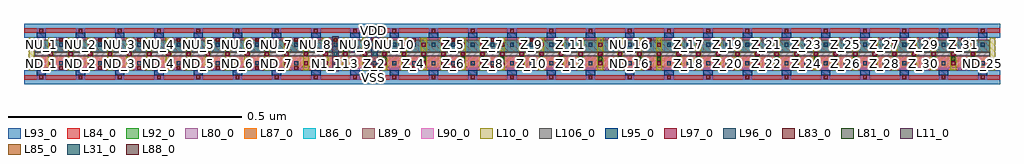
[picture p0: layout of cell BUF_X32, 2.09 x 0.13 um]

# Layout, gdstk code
import gdstk
lib = gdstk.Library(unit=1e-6, precision=1e-09)
def R(c, l, rs):  # rectangles x0, y0, x1, y1
    for r in rs: c.add(gdstk.rectangle(r[:2], r[2:], *l))
def A(c, l, x, y, w, h, nx, ny, dx, dy):  # array of equal rectangles
    R(c, l, [(x+i*dx, y+j*dy, x+i*dx+w, y+j*dy+h) for i in range(nx) for j in range(ny)])
L10_0 = (10, 0)
L11_0 = (11, 0)
L31_0 = (31, 0)
L80_0 = (80, 0)
L81_0 = (81, 0)
L83_0 = (83, 0)
L84_0 = (84, 0)
L85_0 = (85, 0)
L86_0 = (86, 0)
L87_0 = (87, 0)
L88_0 = (88, 0)
L89_0 = (89, 0)
L90_0 = (90, 0)
L92_0 = (92, 0)
L93_0 = (93, 0)
L95_0 = (95, 0)
L96_0 = (96, 0)
L97_0 = (97, 0)
L106_0 = (106, 0)

buf_x32 = lib.new_cell('BUF_X32')
A(buf_x32, L10_0, 0.077, 0.074, 0.012, 0.07, 50, 1, 0.042, 0)
R(buf_x32, L11_0, [(0.727,0.072,0.741,0.147), (0.811,0.072,0.825,0.146), (0.769,0.112,0.783,0.126)])
R(buf_x32, L31_0, [(0.73,0.105,0.738,0.113), (0.814,0.105,0.822,0.113), (0.772,0.115,0.78,0.123)])
A(buf_x32, L80_0, 0.094, 0.054, 0.02, 0.05, 25, 2, 0.084, 0.06)
A(buf_x32, L80_0, 0.136, 0.074, 0.02, 0.03, 24, 2, 0.084, 0.04)
A(buf_x32, L81_0, 0.793, 0.095, 0.008, 0.008, 32, 1, 0.042, 0)
A(buf_x32, L81_0, 0.121, 0.115, 0.008, 0.008, 16, 1, 0.042, 0)
A(buf_x32, L83_0, 0.1, 0.055, 0.008, 0.008, 25, 2, 0.084, 0.1)
A(buf_x32, L83_0, 0.142, 0.075, 0.008, 0.008, 24, 2, 0.084, 0.06)
R(buf_x32, L84_0, [(0.067,0.054,2.157,0.064), (0.141,0.074,0.739,0.084), (0.813,0.074,2.083,0.084), (0.727,0.094,2.104,0.104), (0.12,0.114,0.781,0.124), (0.141,0.134,0.739,0.144), (0.813,0.134,2.083,0.144), (0.067,0.154,2.157,0.164)])
R(buf_x32, L85_0, [(0.73,0.075,0.738,0.083), (0.814,0.075,0.822,0.083), (0.73,0.095,0.738,0.103), (0.772,0.115,0.78,0.123), (0.73,0.135,0.738,0.143), (0.814,0.135,0.822,0.143)])
R(buf_x32, L86_0, [(0.089,0.112,2.135,0.139)])
R(buf_x32, L87_0, [(0.089,0.079,2.135,0.106)])
R(buf_x32, L88_0, [(0.812,0.055,0.82,0.063), (0.812,0.155,0.82,0.163)])
R(buf_x32, L89_0, [(0.089,0.112,2.135,0.139)])
R(buf_x32, L90_0, [(0.089,0.079,2.135,0.106)])
R(buf_x32, L92_0, [(0.09,0.081,2.134,0.104), (0.09,0.114,2.134,0.137)])
R(buf_x32, L93_0, [(0.067,0.044,2.157,0.074), (0.067,0.144,2.157,0.174)])
A(buf_x32, L95_0, 0.094, 0.064, 0.02, 0.01, 25, 2, 0.084, 0.08)
A(buf_x32, L96_0, 0.1, 0.085, 0.008, 0.008, 49, 2, 0.042, 0.04)
A(buf_x32, L97_0, 0.121, 0.085, 0.008, 0.008, 48, 3, 0.042, 0.02)
R(buf_x32, L106_0, [(0.09,0.104,2.135,0.114)])
buf_x32.add(gdstk.Label('ND_16', (1.364,0.089), layer=96, texttype=0))
buf_x32.add(gdstk.Label('NU_16', (1.364,0.129), layer=96, texttype=0))
buf_x32.add(gdstk.Label('Z_16', (1.406,0.089), layer=96, texttype=0))
buf_x32.add(gdstk.Label('Z_13', (1.322,0.129), layer=96, texttype=0))
buf_x32.add(gdstk.Label('Z_14', (1.322,0.089), layer=96, texttype=0))
buf_x32.add(gdstk.Label('ND_15', (1.28,0.089), layer=96, texttype=0))
buf_x32.add(gdstk.Label('NU_15', (1.28,0.129), layer=96, texttype=0))
buf_x32.add(gdstk.Label('Z_12', (1.238,0.089), layer=96, texttype=0))
buf_x32.add(gdstk.Label('ND_14', (1.196,0.089), layer=96, texttype=0))
buf_x32.add(gdstk.Label('Z_15', (1.406,0.129), layer=96, texttype=0))
buf_x32.add(gdstk.Label('NU_17', (1.448,0.129), layer=96, texttype=0))
buf_x32.add(gdstk.Label('Z_17', (1.49,0.129), layer=96, texttype=0))
buf_x32.add(gdstk.Label('NU_18', (1.532,0.129), layer=96, texttype=0))
buf_x32.add(gdstk.Label('Z_19', (1.574,0.129), layer=96, texttype=0))
buf_x32.add(gdstk.Label('NU_19', (1.616,0.129), layer=96, texttype=0))
buf_x32.add(gdstk.Label('Z_21', (1.658,0.129), layer=96, texttype=0))
buf_x32.add(gdstk.Label('NU_20', (1.7,0.129), layer=96, texttype=0))
buf_x32.add(gdstk.Label('Z_23', (1.742,0.129), layer=96, texttype=0))
buf_x32.add(gdstk.Label('NU_21', (1.784,0.129), layer=96, texttype=0))
buf_x32.add(gdstk.Label('Z_25', (1.826,0.129), layer=96, texttype=0))
buf_x32.add(gdstk.Label('NU_22', (1.868,0.129), layer=96, texttype=0))
buf_x32.add(gdstk.Label('Z_27', (1.91,0.129), layer=96, texttype=0))
buf_x32.add(gdstk.Label('NU_23', (1.952,0.129), layer=96, texttype=0))
buf_x32.add(gdstk.Label('Z_29', (1.994,0.129), layer=96, texttype=0))
buf_x32.add(gdstk.Label('NU_24', (2.036,0.129), layer=96, texttype=0))
buf_x32.add(gdstk.Label('Z_31', (2.078,0.129), layer=96, texttype=0))
buf_x32.add(gdstk.Label('NU_25', (2.12,0.129), layer=96, texttype=0))
buf_x32.add(gdstk.Label('Z_10', (1.154,0.089), layer=96, texttype=0))
buf_x32.add(gdstk.Label('Z_9', (1.154,0.129), layer=96, texttype=0))
buf_x32.add(gdstk.Label('ND_25', (2.12,0.089), layer=96, texttype=0))
buf_x32.add(gdstk.Label('Z_32', (2.078,0.089), layer=96, texttype=0))
buf_x32.add(gdstk.Label('ND_24', (2.036,0.089), layer=96, texttype=0))
buf_x32.add(gdstk.Label('Z_30', (1.994,0.089), layer=96, texttype=0))
buf_x32.add(gdstk.Label('ND_23', (1.952,0.089), layer=96, texttype=0))
buf_x32.add(gdstk.Label('Z_28', (1.91,0.089), layer=96, texttype=0))
buf_x32.add(gdstk.Label('ND_22', (1.868,0.089), layer=96, texttype=0))
buf_x32.add(gdstk.Label('Z_26', (1.826,0.089), layer=96, texttype=0))
buf_x32.add(gdstk.Label('ND_21', (1.784,0.089), layer=96, texttype=0))
buf_x32.add(gdstk.Label('Z_24', (1.742,0.089), layer=96, texttype=0))
buf_x32.add(gdstk.Label('ND_20', (1.7,0.089), layer=96, texttype=0))
buf_x32.add(gdstk.Label('Z_22', (1.658,0.089), layer=96, texttype=0))
buf_x32.add(gdstk.Label('ND_19', (1.616,0.089), layer=96, texttype=0))
buf_x32.add(gdstk.Label('Z_20', (1.574,0.089), layer=96, texttype=0))
buf_x32.add(gdstk.Label('ND_18', (1.532,0.089), layer=96, texttype=0))
buf_x32.add(gdstk.Label('Z_18', (1.49,0.089), layer=96, texttype=0))
buf_x32.add(gdstk.Label('ND_17', (1.448,0.089), layer=96, texttype=0))
buf_x32.add(gdstk.Label('NU_14', (1.196,0.129), layer=96, texttype=0))
buf_x32.add(gdstk.Label('Z_11', (1.238,0.129), layer=96, texttype=0))
buf_x32.add(gdstk.Label('ND_3', (0.272,0.089), layer=96, texttype=0))
buf_x32.add(gdstk.Label('NU_3', (0.272,0.129), layer=96, texttype=0))
buf_x32.add(gdstk.Label('N1_102', (0.314,0.089), layer=96, texttype=0))
buf_x32.add(gdstk.Label('N1_99', (0.23,0.129), layer=96, texttype=0))
buf_x32.add(gdstk.Label('N1_100', (0.23,0.089), layer=96, texttype=0))
buf_x32.add(gdstk.Label('ND_2', (0.188,0.089), layer=96, texttype=0))
buf_x32.add(gdstk.Label('NU_2', (0.188,0.129), layer=96, texttype=0))
buf_x32.add(gdstk.Label('N1_98', (0.146,0.089), layer=96, texttype=0))
buf_x32.add(gdstk.Label('ND_1', (0.104,0.089), layer=96, texttype=0))
buf_x32.add(gdstk.Label('N1_101', (0.314,0.129), layer=96, texttype=0))
buf_x32.add(gdstk.Label('NU_4', (0.356,0.129), layer=96, texttype=0))
buf_x32.add(gdstk.Label('N1_103', (0.398,0.129), layer=96, texttype=0))
buf_x32.add(gdstk.Label('NU_5', (0.44,0.129), layer=96, texttype=0))
buf_x32.add(gdstk.Label('N1_105', (0.482,0.129), layer=96, texttype=0))
buf_x32.add(gdstk.Label('NU_6', (0.524,0.129), layer=96, texttype=0))
buf_x32.add(gdstk.Label('N1_108', (0.566,0.129), layer=96, texttype=0))
buf_x32.add(gdstk.Label('NU_7', (0.608,0.129), layer=96, texttype=0))
buf_x32.add(gdstk.Label('N1_110', (0.65,0.129), layer=96, texttype=0))
buf_x32.add(gdstk.Label('NU_8', (0.692,0.129), layer=96, texttype=0))
buf_x32.add(gdstk.Label('N1_112', (0.734,0.129), layer=96, texttype=0))
buf_x32.add(gdstk.Label('NU_9', (0.776,0.129), layer=96, texttype=0))
buf_x32.add(gdstk.Label('Z_1', (0.818,0.129), layer=96, texttype=0))
buf_x32.add(gdstk.Label('NU_10', (0.86,0.129), layer=96, texttype=0))
buf_x32.add(gdstk.Label('Z_3', (0.902,0.129), layer=96, texttype=0))
buf_x32.add(gdstk.Label('NU_11', (0.944,0.129), layer=96, texttype=0))
buf_x32.add(gdstk.Label('Z_5', (0.986,0.129), layer=96, texttype=0))
buf_x32.add(gdstk.Label('NU_12', (1.028,0.129), layer=96, texttype=0))
buf_x32.add(gdstk.Label('Z_7', (1.07,0.129), layer=96, texttype=0))
buf_x32.add(gdstk.Label('NU_13', (1.112,0.129), layer=96, texttype=0))
buf_x32.add(gdstk.Label('ND_13', (1.112,0.089), layer=96, texttype=0))
buf_x32.add(gdstk.Label('Z_8', (1.07,0.089), layer=96, texttype=0))
buf_x32.add(gdstk.Label('ND_12', (1.028,0.089), layer=96, texttype=0))
buf_x32.add(gdstk.Label('Z_6', (0.986,0.089), layer=96, texttype=0))
buf_x32.add(gdstk.Label('ND_11', (0.944,0.089), layer=96, texttype=0))
buf_x32.add(gdstk.Label('Z_4', (0.902,0.089), layer=96, texttype=0))
buf_x32.add(gdstk.Label('ND_10', (0.86,0.089), layer=96, texttype=0))
buf_x32.add(gdstk.Label('Z_2', (0.818,0.089), layer=96, texttype=0))
buf_x32.add(gdstk.Label('ND_9', (0.776,0.089), layer=96, texttype=0))
buf_x32.add(gdstk.Label('N1_113', (0.734,0.089), layer=96, texttype=0))
buf_x32.add(gdstk.Label('ND_8', (0.692,0.089), layer=96, texttype=0))
buf_x32.add(gdstk.Label('N1_111', (0.65,0.089), layer=96, texttype=0))
buf_x32.add(gdstk.Label('ND_7', (0.608,0.089), layer=96, texttype=0))
buf_x32.add(gdstk.Label('N1_109', (0.566,0.089), layer=96, texttype=0))
buf_x32.add(gdstk.Label('ND_6', (0.524,0.089), layer=96, texttype=0))
buf_x32.add(gdstk.Label('N1_106', (0.482,0.089), layer=96, texttype=0))
buf_x32.add(gdstk.Label('ND_5', (0.44,0.089), layer=96, texttype=0))
buf_x32.add(gdstk.Label('N1_104', (0.398,0.089), layer=96, texttype=0))
buf_x32.add(gdstk.Label('ND_4', (0.356,0.089), layer=96, texttype=0))
buf_x32.add(gdstk.Label('NU_1', (0.104,0.129), layer=96, texttype=0))
buf_x32.add(gdstk.Label('N1_97', (0.146,0.129), layer=96, texttype=0))
buf_x32.add(gdstk.Label('VSS', (0.816,0.059), layer=88, texttype=0))
buf_x32.add(gdstk.Label('VDD', (0.816,0.159), layer=88, texttype=0))
buf_x32.add(gdstk.Label('N1', (0.734,0.109), layer=31, texttype=0))
buf_x32.add(gdstk.Label('Z', (0.818,0.109), layer=31, texttype=0))
buf_x32.add(gdstk.Label('A', (0.776,0.119), layer=31, texttype=0))
buf_x32.add(gdstk.Label('N1_94', (2.099,0.129), layer=97, texttype=0))
buf_x32.add(gdstk.Label('N1_95', (2.099,0.109), layer=97, texttype=0))
buf_x32.add(gdstk.Label('N1_96', (2.099,0.089), layer=97, texttype=0))
buf_x32.add(gdstk.Label('N1_91', (2.057,0.129), layer=97, texttype=0))
buf_x32.add(gdstk.Label('N1_92', (2.057,0.109), layer=97, texttype=0))
buf_x32.add(gdstk.Label('N1_93', (2.057,0.089), layer=97, texttype=0))
buf_x32.add(gdstk.Label('N1_90', (2.015,0.089), layer=97, texttype=0))
buf_x32.add(gdstk.Label('N1_89', (2.015,0.109), layer=97, texttype=0))
buf_x32.add(gdstk.Label('N1_88', (2.015,0.129), layer=97, texttype=0))
buf_x32.add(gdstk.Label('N1_85', (1.973,0.129), layer=97, texttype=0))
buf_x32.add(gdstk.Label('N1_86', (1.973,0.109), layer=97, texttype=0))
buf_x32.add(gdstk.Label('N1_87', (1.973,0.089), layer=97, texttype=0))
buf_x32.add(gdstk.Label('N1_82', (1.931,0.129), layer=97, texttype=0))
buf_x32.add(gdstk.Label('N1_83', (1.931,0.109), layer=97, texttype=0))
buf_x32.add(gdstk.Label('N1_84', (1.931,0.089), layer=97, texttype=0))
buf_x32.add(gdstk.Label('N1_79', (1.889,0.129), layer=97, texttype=0))
buf_x32.add(gdstk.Label('N1_80', (1.889,0.109), layer=97, texttype=0))
buf_x32.add(gdstk.Label('N1_81', (1.889,0.089), layer=97, texttype=0))
buf_x32.add(gdstk.Label('N1_78', (1.847,0.089), layer=97, texttype=0))
buf_x32.add(gdstk.Label('N1_77', (1.847,0.109), layer=97, texttype=0))
buf_x32.add(gdstk.Label('N1_76', (1.847,0.129), layer=97, texttype=0))
buf_x32.add(gdstk.Label('N1_73', (1.805,0.129), layer=97, texttype=0))
buf_x32.add(gdstk.Label('N1_74', (1.805,0.109), layer=97, texttype=0))
buf_x32.add(gdstk.Label('N1_75', (1.805,0.089), layer=97, texttype=0))
buf_x32.add(gdstk.Label('N1_70', (1.763,0.129), layer=97, texttype=0))
buf_x32.add(gdstk.Label('N1_71', (1.763,0.109), layer=97, texttype=0))
buf_x32.add(gdstk.Label('N1_72', (1.763,0.089), layer=97, texttype=0))
buf_x32.add(gdstk.Label('N1_69', (1.721,0.089), layer=97, texttype=0))
buf_x32.add(gdstk.Label('N1_68', (1.721,0.109), layer=97, texttype=0))
buf_x32.add(gdstk.Label('N1_67', (1.721,0.129), layer=97, texttype=0))
buf_x32.add(gdstk.Label('N1_66', (1.679,0.089), layer=97, texttype=0))
buf_x32.add(gdstk.Label('N1_65', (1.679,0.109), layer=97, texttype=0))
buf_x32.add(gdstk.Label('N1_64', (1.679,0.129), layer=97, texttype=0))
buf_x32.add(gdstk.Label('N1_61', (1.637,0.129), layer=97, texttype=0))
buf_x32.add(gdstk.Label('N1_62', (1.637,0.109), layer=97, texttype=0))
buf_x32.add(gdstk.Label('N1_63', (1.637,0.089), layer=97, texttype=0))
buf_x32.add(gdstk.Label('N1_58', (1.595,0.129), layer=97, texttype=0))
buf_x32.add(gdstk.Label('N1_59', (1.595,0.109), layer=97, texttype=0))
buf_x32.add(gdstk.Label('N1_60', (1.595,0.089), layer=97, texttype=0))
buf_x32.add(gdstk.Label('N1_55', (1.553,0.129), layer=97, texttype=0))
buf_x32.add(gdstk.Label('N1_56', (1.553,0.109), layer=97, texttype=0))
buf_x32.add(gdstk.Label('N1_57', (1.553,0.089), layer=97, texttype=0))
buf_x32.add(gdstk.Label('N1_54', (1.511,0.089), layer=97, texttype=0))
buf_x32.add(gdstk.Label('N1_53', (1.511,0.109), layer=97, texttype=0))
buf_x32.add(gdstk.Label('N1_52', (1.511,0.129), layer=97, texttype=0))
buf_x32.add(gdstk.Label('N1_49', (1.469,0.129), layer=97, texttype=0))
buf_x32.add(gdstk.Label('N1_50', (1.469,0.109), layer=97, texttype=0))
buf_x32.add(gdstk.Label('N1_51', (1.469,0.089), layer=97, texttype=0))
buf_x32.add(gdstk.Label('N1_46', (1.427,0.129), layer=97, texttype=0))
buf_x32.add(gdstk.Label('N1_47', (1.427,0.109), layer=97, texttype=0))
buf_x32.add(gdstk.Label('N1_44', (1.385,0.109), layer=97, texttype=0))
buf_x32.add(gdstk.Label('N1_45', (1.385,0.089), layer=97, texttype=0))
buf_x32.add(gdstk.Label('N1_48', (1.427,0.089), layer=97, texttype=0))
buf_x32.add(gdstk.Label('N1_43', (1.385,0.129), layer=97, texttype=0))
buf_x32.add(gdstk.Label('N1_40', (1.343,0.129), layer=97, texttype=0))
buf_x32.add(gdstk.Label('N1_16', (0.797,0.129), layer=97, texttype=0))
buf_x32.add(gdstk.Label('N1_24', (0.797,0.109), layer=97, texttype=0))
buf_x32.add(gdstk.Label('N1_23', (0.839,0.109), layer=97, texttype=0))
buf_x32.add(gdstk.Label('N1_15', (0.839,0.129), layer=97, texttype=0))
buf_x32.add(gdstk.Label('N1_14', (0.881,0.129), layer=97, texttype=0))
buf_x32.add(gdstk.Label('N1_22', (0.881,0.109), layer=97, texttype=0))
buf_x32.add(gdstk.Label('N1_13', (0.923,0.129), layer=97, texttype=0))
buf_x32.add(gdstk.Label('N1_21', (0.923,0.109), layer=97, texttype=0))
buf_x32.add(gdstk.Label('N1_12', (0.965,0.129), layer=97, texttype=0))
buf_x32.add(gdstk.Label('N1_20', (0.965,0.109), layer=97, texttype=0))
buf_x32.add(gdstk.Label('N1_11', (1.007,0.129), layer=97, texttype=0))
buf_x32.add(gdstk.Label('N1_19', (1.007,0.109), layer=97, texttype=0))
buf_x32.add(gdstk.Label('N1_10', (1.049,0.129), layer=97, texttype=0))
buf_x32.add(gdstk.Label('N1_18', (1.049,0.109), layer=97, texttype=0))
buf_x32.add(gdstk.Label('N1_9', (1.091,0.129), layer=97, texttype=0))
buf_x32.add(gdstk.Label('N1_17', (1.091,0.109), layer=97, texttype=0))
buf_x32.add(gdstk.Label('N1_8', (0.797,0.089), layer=97, texttype=0))
buf_x32.add(gdstk.Label('N1_7', (0.839,0.089), layer=97, texttype=0))
buf_x32.add(gdstk.Label('N1_6', (0.881,0.089), layer=97, texttype=0))
buf_x32.add(gdstk.Label('N1_5', (0.923,0.089), layer=97, texttype=0))
buf_x32.add(gdstk.Label('N1_4', (0.965,0.089), layer=97, texttype=0))
buf_x32.add(gdstk.Label('N1_3', (1.007,0.089), layer=97, texttype=0))
buf_x32.add(gdstk.Label('N1_2', (1.049,0.089), layer=97, texttype=0))
buf_x32.add(gdstk.Label('N1_1', (1.091,0.089), layer=97, texttype=0))
buf_x32.add(gdstk.Label('N1_25', (1.133,0.129), layer=97, texttype=0))
buf_x32.add(gdstk.Label('N1_26', (1.133,0.109), layer=97, texttype=0))
buf_x32.add(gdstk.Label('N1_27', (1.133,0.089), layer=97, texttype=0))
buf_x32.add(gdstk.Label('N1_28', (1.175,0.129), layer=97, texttype=0))
buf_x32.add(gdstk.Label('N1_29', (1.175,0.109), layer=97, texttype=0))
buf_x32.add(gdstk.Label('N1_30', (1.175,0.089), layer=97, texttype=0))
buf_x32.add(gdstk.Label('N1_31', (1.217,0.129), layer=97, texttype=0))
buf_x32.add(gdstk.Label('N1_32', (1.217,0.109), layer=97, texttype=0))
buf_x32.add(gdstk.Label('N1_33', (1.217,0.089), layer=97, texttype=0))
buf_x32.add(gdstk.Label('N1_34', (1.259,0.129), layer=97, texttype=0))
buf_x32.add(gdstk.Label('N1_35', (1.259,0.109), layer=97, texttype=0))
buf_x32.add(gdstk.Label('N1_36', (1.259,0.089), layer=97, texttype=0))
buf_x32.add(gdstk.Label('N1_37', (1.301,0.129), layer=97, texttype=0))
buf_x32.add(gdstk.Label('N1_38', (1.301,0.109), layer=97, texttype=0))
buf_x32.add(gdstk.Label('N1_39', (1.301,0.089), layer=97, texttype=0))
buf_x32.add(gdstk.Label('N1_42', (1.343,0.089), layer=97, texttype=0))
buf_x32.add(gdstk.Label('N1_41', (1.343,0.109), layer=97, texttype=0))
buf_x32.add(gdstk.Label('A_46', (0.755,0.129), layer=97, texttype=0))
buf_x32.add(gdstk.Label('A_47', (0.755,0.109), layer=97, texttype=0))
buf_x32.add(gdstk.Label('A_48', (0.755,0.089), layer=97, texttype=0))
buf_x32.add(gdstk.Label('A_45', (0.713,0.089), layer=97, texttype=0))
buf_x32.add(gdstk.Label('A_44', (0.713,0.109), layer=97, texttype=0))
buf_x32.add(gdstk.Label('A_43', (0.713,0.129), layer=97, texttype=0))
buf_x32.add(gdstk.Label('A_40', (0.671,0.129), layer=97, texttype=0))
buf_x32.add(gdstk.Label('A_41', (0.671,0.109), layer=97, texttype=0))
buf_x32.add(gdstk.Label('A_42', (0.671,0.089), layer=97, texttype=0))
buf_x32.add(gdstk.Label('A_37', (0.629,0.129), layer=97, texttype=0))
buf_x32.add(gdstk.Label('A_38', (0.629,0.109), layer=97, texttype=0))
buf_x32.add(gdstk.Label('A_39', (0.629,0.089), layer=97, texttype=0))
buf_x32.add(gdstk.Label('A_36', (0.587,0.089), layer=97, texttype=0))
buf_x32.add(gdstk.Label('A_35', (0.587,0.109), layer=97, texttype=0))
buf_x32.add(gdstk.Label('A_34', (0.587,0.129), layer=97, texttype=0))
buf_x32.add(gdstk.Label('A_33', (0.545,0.089), layer=97, texttype=0))
buf_x32.add(gdstk.Label('A_32', (0.545,0.109), layer=97, texttype=0))
buf_x32.add(gdstk.Label('A_31', (0.545,0.129), layer=97, texttype=0))
buf_x32.add(gdstk.Label('A_28', (0.503,0.129), layer=97, texttype=0))
buf_x32.add(gdstk.Label('A_29', (0.503,0.109), layer=97, texttype=0))
buf_x32.add(gdstk.Label('A_30', (0.503,0.089), layer=97, texttype=0))
buf_x32.add(gdstk.Label('A_25', (0.461,0.129), layer=97, texttype=0))
buf_x32.add(gdstk.Label('A_26', (0.461,0.109), layer=97, texttype=0))
buf_x32.add(gdstk.Label('A_27', (0.461,0.089), layer=97, texttype=0))
buf_x32.add(gdstk.Label('A_16', (0.125,0.129), layer=97, texttype=0))
buf_x32.add(gdstk.Label('A_24', (0.125,0.109), layer=97, texttype=0))
buf_x32.add(gdstk.Label('A_23', (0.167,0.109), layer=97, texttype=0))
buf_x32.add(gdstk.Label('A_15', (0.167,0.129), layer=97, texttype=0))
buf_x32.add(gdstk.Label('A_14', (0.209,0.129), layer=97, texttype=0))
buf_x32.add(gdstk.Label('A_22', (0.209,0.109), layer=97, texttype=0))
buf_x32.add(gdstk.Label('A_13', (0.251,0.129), layer=97, texttype=0))
buf_x32.add(gdstk.Label('A_21', (0.251,0.109), layer=97, texttype=0))
buf_x32.add(gdstk.Label('A_12', (0.293,0.129), layer=97, texttype=0))
buf_x32.add(gdstk.Label('A_20', (0.293,0.109), layer=97, texttype=0))
buf_x32.add(gdstk.Label('A_11', (0.335,0.129), layer=97, texttype=0))
buf_x32.add(gdstk.Label('A_19', (0.335,0.109), layer=97, texttype=0))
buf_x32.add(gdstk.Label('A_10', (0.377,0.129), layer=97, texttype=0))
buf_x32.add(gdstk.Label('A_18', (0.377,0.109), layer=97, texttype=0))
buf_x32.add(gdstk.Label('A_9', (0.419,0.129), layer=97, texttype=0))
buf_x32.add(gdstk.Label('A_17', (0.419,0.109), layer=97, texttype=0))
buf_x32.add(gdstk.Label('A_8', (0.125,0.089), layer=97, texttype=0))
buf_x32.add(gdstk.Label('A_7', (0.167,0.089), layer=97, texttype=0))
buf_x32.add(gdstk.Label('A_6', (0.209,0.089), layer=97, texttype=0))
buf_x32.add(gdstk.Label('A_5', (0.251,0.089), layer=97, texttype=0))
buf_x32.add(gdstk.Label('A_4', (0.293,0.089), layer=97, texttype=0))
buf_x32.add(gdstk.Label('A_3', (0.335,0.089), layer=97, texttype=0))
buf_x32.add(gdstk.Label('A_2', (0.377,0.089), layer=97, texttype=0))
buf_x32.add(gdstk.Label('A_1', (0.419,0.089), layer=97, texttype=0))

lib.write_gds('BUF_X32.gds')
